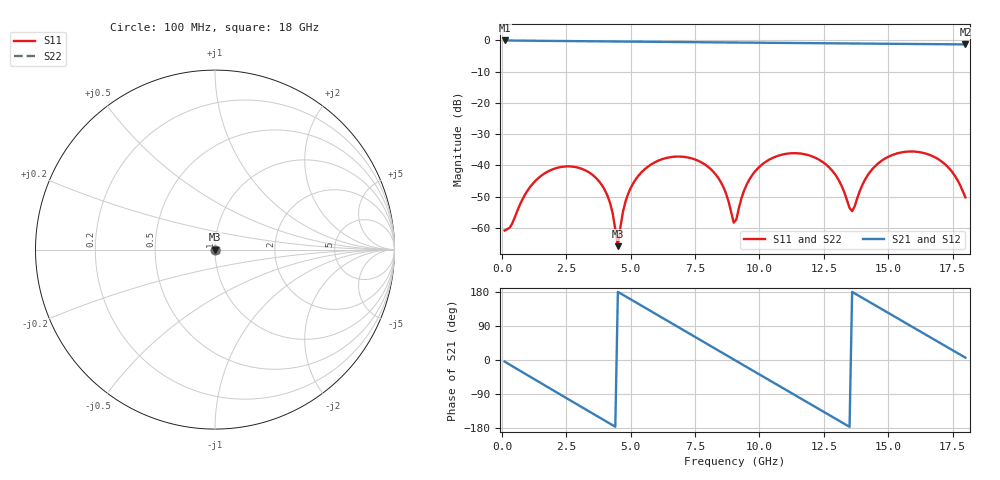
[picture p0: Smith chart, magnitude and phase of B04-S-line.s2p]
! yapnr rf coupon B: B04 S L16 (line, family S)
! stackup JLC06161H-2116C, nominal parameters; reference planes 10 mm from each end; 50 ohm (renormalized from the line's Zc)
! model: 2D quasi-static RLGC (Djordjevic-Sarkar, Huray roughness, Wheeler loss); generated by python -m yapnr.rf.coupons expected
# GHz S DB R 50
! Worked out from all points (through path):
!   180 points, 100 MHz to 18 GHz, reference 50 ohm
!   highest |S21| = -0.02 dB at 100 MHz (marker M1); lowest = -1.3 dB at 18 GHz (marker M2)
!   group delay of S21, straight-line fit = 110 ps
!   lowest |S11| = -65.9 dB at 4.5 GHz (marker M3), VSWR 1.00, Z = 50 + j0.0235 ohm
!   |S11| at or under -10 dB: start of sweep to end of sweep
!   |S22| runs from -65.9 to -35.6 dB; largest |S21 - S12| = 0
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0.1  -60.88 16.9  -0.02 -4.2  -0.02 -4.2  -60.88 16.9
1.7  -42.36 44.6  -0.15 -68.6  -0.15 -68.6  -42.36 44.6
3.1  -41.13 -9.2  -0.26 -124.5  -0.26 -124.5  -41.13 -9.2
4  -48.03 -40.6  -0.33 -160.3  -0.33 -160.3  -48.03 -40.6
4.3  -55.44 -42.4  -0.35 -172.2  -0.35 -172.2  -55.44 -42.4
4.5  -65.89 27.5  -0.36 179.8  -0.36 179.8  -65.89 27.5
4.7  -54.78 88.4  -0.38 171.9  -0.38 171.9  -54.78 88.4
5  -47.22 86.0  -0.40 159.9  -0.40 159.9  -47.22 86.0
6.1  -38.41 47.5  -0.48 116.3  -0.48 116.3  -38.41 47.5
7  -37.24 13.5  -0.54 80.6  -0.54 80.6  -37.24 13.5
8  -40.45 -22.4  -0.61 41.0  -0.61 41.0  -40.45 -22.4
9.1  -57.42 48.7  -0.68 -2.6  -0.68 -2.6  -57.42 48.7
9.5  -46.22 79.3  -0.71 -18.4  -0.71 -18.4  -46.22 79.3
10.1  -39.76 63.8  -0.75 -42.1  -0.75 -42.1  -39.76 63.8
11.1  -36.24 28.6  -0.82 -81.6  -0.82 -81.6  -36.24 28.6
12.1  -37.33 -6.8  -0.89 -121.1  -0.89 -121.1  -37.33 -6.8
12.9  -42.48 -30.2  -0.94 -152.7  -0.94 -152.7  -42.48 -30.2
13.6  -54.69 23.3  -0.99 179.6  -0.99 179.6  -54.69 23.3
14.2  -43.24 71.5  -1.03 156.0  -1.03 156.0  -43.24 71.5
15.1  -36.91 46.5  -1.09 120.5  -1.09 120.5  -36.91 46.5
16.9  -37.80 -13.8  -1.21 49.5  -1.21 49.5  -37.80 -13.8
18  -50.24 -10.6  -1.28 6.2  -1.28 6.2  -50.24 -10.6
